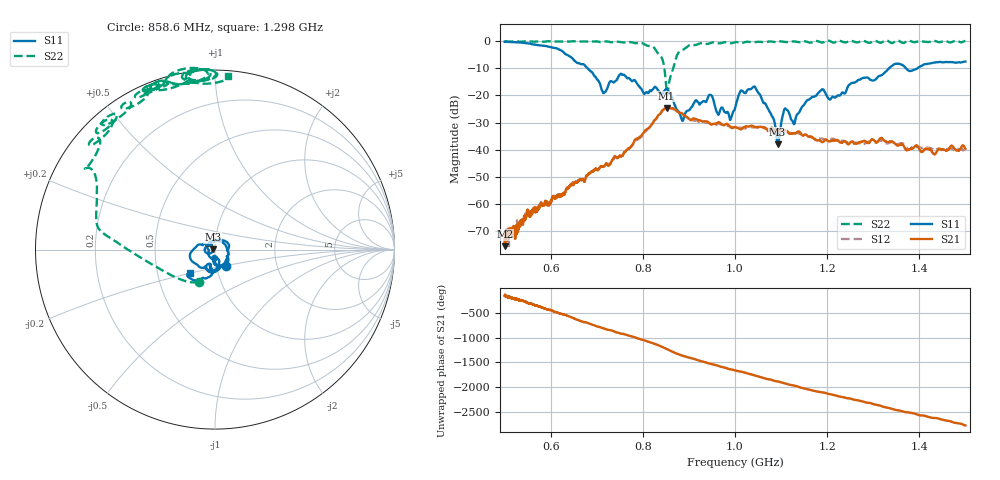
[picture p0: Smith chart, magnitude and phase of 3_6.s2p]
!Agilent Technologies,E8364B,US42250235,A.06.04.32
!Agilent E8364B: A.06.04.32
!Date: Thursday, October 01, 2020 16:08:50
!Correction: S11(Full 2 Port(1,2)) S21(Full 2 Port(1,2)) S12(Full 2 Port(1,2)) S22(Full 2 Port(1,2))
!S2P File: Measurements: S11, S21, S12, S22:
# Hz S  dB  R 50
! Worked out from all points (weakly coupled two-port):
!   2650 points, 500 MHz to 1.5 GHz, reference 50 ohm
!   highest |S21| = -24.61 dB at 851.5 MHz (marker M1); lowest = -75.6 dB at 500.4 MHz (marker M2)
!   lowest |S11| = -38.0 dB at 1.092 GHz (marker M3), VSWR 1.03, Z = 48.8 + j0.215 ohm
!   |S11| at or under -10 dB: 680.1 MHz to 1.334 GHz (654.1 MHz wide, 64.9 % of centre); 1.371 GHz to 1.396 GHz (25.37 MHz wide, 1.83 % of centre)
!   |S22| runs from -19.8 to 0.2 dB; largest |S21 - S12| = 0.0043
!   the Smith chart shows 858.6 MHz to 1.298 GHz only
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5e8  -0.24 -175.1  -75.08 -159.0  -73.15 -146.9  -0.03 143.2
5.003775e8  -0.25 -175.3  -75.56 -160.5  -74.86 -171.7  -0.03 143.4
6.019253e8  -2.26 119.3  -58.53 -88.3  -58.46 -88.9  -0.12 130.1
6.668554e8  -8.51 75.6  -50.94 48.6  -51.21 56.7  -0.12 124.5
7.151755e8  -19.18 74.2  -46.21 -95.2  -46.12 -88.3  -0.21 112.1
7.544356e8  -12.28 68.8  -42.35 159.2  -42.34 162.9  -0.46 110.7
7.989807e8  -18.32 23.2  -34.30 38.5  -34.92 41.0  -0.80 98.8
8.337108e8  -18.41 -1.3  -27.30 -73.7  -27.61 -72.0  -4.71 54.0
8.514534e8  -17.75 -28.5  -24.61 -150.4  -24.82 -148.3  -18.23 -9.6
8.831635e8  -28.28 -160.4  -26.46 88.5  -26.66 87.8  -3.43 167.8
9.458286e8  -19.80 -57.2  -30.40 -85.8  -30.39 -84.2  -0.80 128.7
9.628162e8  -26.88 -90.5  -30.00 -123.4  -30.44 -123.6  -0.83 133.4
1.000189e9  -24.68 -69.7  -31.68 140.8  -31.87 140.4  -0.43 120.1
1.043224e9  -16.86 -167.1  -31.64 36.7  -31.70 37.3  -0.40 112.4
1.092299e9  -38.00 169.9  -33.42 -79.8  -33.75 -84.0  -0.26 109.5
1.108532e9  -24.86 -175.7  -32.94 -121.0  -33.86 -117.0  -0.33 113.4
1.127029e9  -30.38 124.1  -33.93 -163.6  -34.25 -161.3  -0.12 109.6
1.166667e9  -20.70 -53.6  -35.37 100.7  -35.36 103.2  -0.52 100.6
1.321442e9  -12.14 -133.8  -36.16 128.1  -37.18 134.8  -0.22 82.1
1.333522e9  -10.11 -138.5  -37.14 105.9  -37.59 112.7  -0.09 97.7
1.37165e9  -10.16 177.3  -40.05 18.7  -39.28 18.9  -0.18 74.2
1.5e9  -7.56 142.3  -39.69 112.6  -40.99 110.7  0.10 71.6
